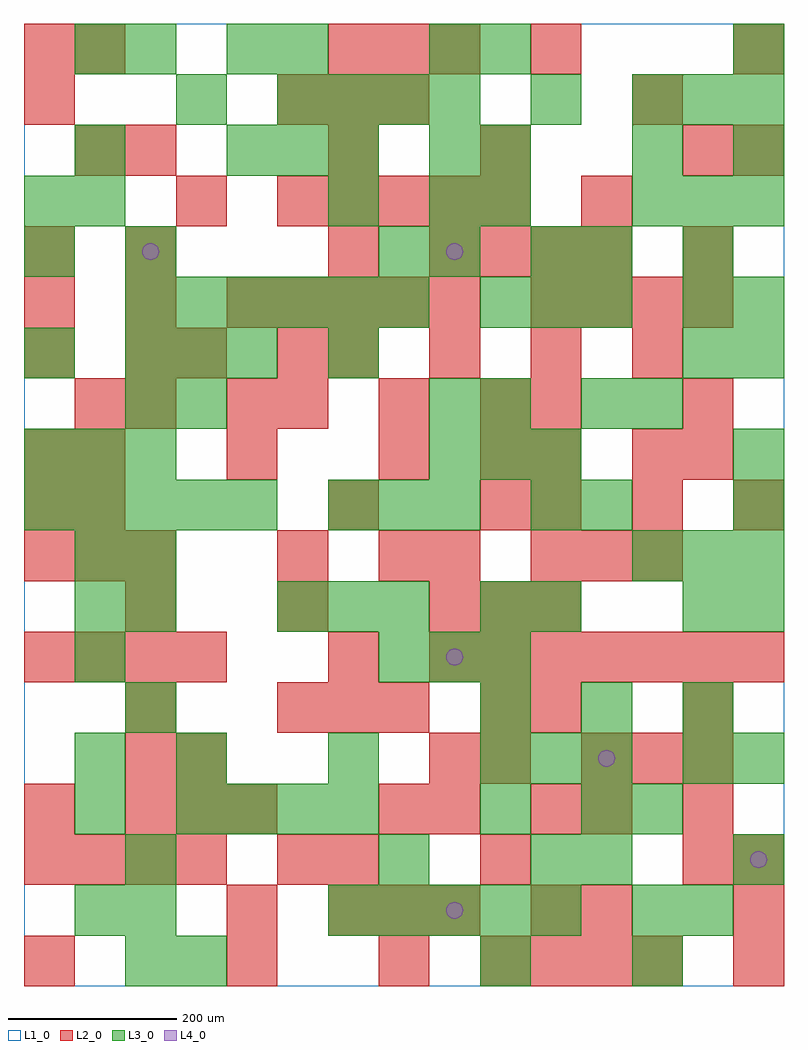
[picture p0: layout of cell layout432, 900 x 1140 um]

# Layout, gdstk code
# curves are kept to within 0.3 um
import gdstk
lib = gdstk.Library(unit=1e-6, precision=1e-09)
def R(c, l, rs):  # rectangles x0, y0, x1, y1
    for r in rs: c.add(gdstk.rectangle(r[:2], r[2:], *l))
def A(c, l, x, y, w, h, nx, ny, dx, dy):  # array of equal rectangles
    R(c, l, [(x+i*dx, y+j*dy, x+i*dx+w, y+j*dy+h) for i in range(nx) for j in range(ny)])
def P(c, l, *ps):  # polygons
    for p in ps: c.add(gdstk.Polygon(p, *l))
L1_0 = (1, 0)
L2_0 = (2, 0)
L3_0 = (3, 0)
L4_0 = (4, 0)

layout432 = lib.new_cell('layout432')
R(layout432, L1_0, [(0,0,900,1140)])
A(layout432, L2_0, 540, 0, 60, 60, 4, 1, 60, 0)
A(layout432, L2_0, 840, 0, 60, 60, 1, 3, 0, 60)
A(layout432, L2_0, 360, 60, 60, 60, 3, 2, 60, 1020)
A(layout432, L2_0, 600, 60, 60, 60, 1, 4, 0, 120)
A(layout432, L2_0, 0, 120, 60, 60, 4, 2, 60, 240)
A(layout432, L2_0, 120, 180, 60, 60, 3, 1, 60, 0)
A(layout432, L2_0, 660, 240, 60, 60, 3, 1, 60, 0)
A(layout432, L2_0, 300, 300, 60, 60, 3, 2, 60, 720)
A(layout432, L2_0, 540, 300, 60, 60, 1, 3, 0, 120)
A(layout432, L2_0, 480, 360, 60, 60, 7, 1, 60, 0)
A(layout432, L2_0, 120, 420, 60, 60, 3, 1, 180, 0)
A(layout432, L2_0, 0, 480, 60, 60, 3, 1, 60, 0)
A(layout432, L2_0, 600, 480, 60, 60, 3, 1, 60, 0)
A(layout432, L2_0, 600, 540, 60, 60, 3, 1, 120, 0)
A(layout432, L2_0, 0, 600, 60, 60, 1, 3, 0, 120)
A(layout432, L2_0, 60, 600, 60, 60, 3, 1, 180, 0)
A(layout432, L2_0, 300, 660, 60, 60, 3, 1, 120, 0)
A(layout432, L2_0, 120, 720, 60, 60, 1, 3, 0, 120)
A(layout432, L2_0, 360, 720, 60, 60, 4, 1, 120, 0)
A(layout432, L2_0, 0, 780, 60, 60, 3, 1, 120, 0)
A(layout432, L2_0, 300, 780, 60, 60, 4, 1, 60, 0)
A(layout432, L2_0, 600, 780, 60, 60, 4, 1, 60, 0)
A(layout432, L2_0, 480, 840, 60, 60, 4, 1, 60, 0)
A(layout432, L2_0, 300, 900, 60, 60, 5, 1, 60, 0)
R(layout432, L2_0, [(0,0,60,60), (240,0,300,60), (420,0,480,60), (240,60,300,120), (660,60,720,120), (300,120,360,180), (360,120,420,180), (540,120,600,180), (780,120,840,180), (0,180,60,240), (420,180,480,240), (480,180,540,240), (660,180,720,240), (780,180,840,240), (120,240,180,300), (180,240,240,300), (480,240,540,300), (540,240,600,300), (120,300,180,360), (780,300,840,360), (360,360,420,420), (300,480,360,540), (420,480,480,540), (480,480,540,540), (0,540,60,600), (60,540,120,600), (360,540,420,600), (540,600,600,660), (600,600,660,660), (720,600,780,660), (780,600,840,660), (60,660,120,720), (120,660,180,720), (240,660,300,720), (600,660,660,720), (780,660,840,720), (180,720,240,780), (300,720,360,780), (360,840,420,900), (780,840,840,900), (180,900,240,960), (660,900,720,960), (60,960,120,1020), (360,960,420,1020), (540,960,600,1020), (780,960,840,1020), (840,960,900,1020), (0,1020,60,1080), (720,1020,780,1080), (0,1080,60,1140), (60,1080,120,1140), (600,1080,660,1140), (840,1080,900,1140)])
A(layout432, L3_0, 120, 0, 60, 60, 1, 3, 0, 60)
A(layout432, L3_0, 360, 60, 60, 60, 5, 1, 60, 0)
A(layout432, L3_0, 780, 60, 60, 60, 1, 3, 0, 180)
A(layout432, L3_0, 660, 120, 60, 60, 1, 3, 0, 60)
A(layout432, L3_0, 180, 180, 60, 60, 4, 1, 60, 0)
A(layout432, L3_0, 540, 180, 60, 60, 1, 4, 0, 240)
A(layout432, L3_0, 180, 240, 60, 60, 3, 1, 180, 0)
A(layout432, L3_0, 540, 300, 60, 60, 3, 1, 120, 0)
A(layout432, L3_0, 60, 360, 60, 60, 1, 3, 0, 60)
A(layout432, L3_0, 420, 360, 60, 60, 3, 1, 60, 0)
A(layout432, L3_0, 300, 420, 60, 60, 3, 1, 60, 0)
A(layout432, L3_0, 120, 480, 60, 60, 1, 3, 0, 180)
A(layout432, L3_0, 720, 480, 60, 60, 3, 2, 60, 420)
A(layout432, L3_0, 0, 540, 60, 60, 5, 1, 60, 0)
A(layout432, L3_0, 360, 540, 60, 60, 3, 1, 60, 0)
A(layout432, L3_0, 0, 600, 60, 60, 3, 1, 60, 0)
A(layout432, L3_0, 480, 600, 60, 60, 3, 1, 60, 0)
A(layout432, L3_0, 120, 720, 60, 60, 3, 1, 60, 0)
A(layout432, L3_0, 780, 720, 60, 60, 1, 3, 0, 60)
A(layout432, L3_0, 120, 780, 60, 60, 6, 1, 60, 0)
A(layout432, L3_0, 540, 780, 60, 60, 3, 1, 60, 0)
A(layout432, L3_0, 480, 840, 60, 60, 1, 3, 0, 60)
A(layout432, L3_0, 240, 960, 60, 60, 3, 1, 60, 0)
A(layout432, L3_0, 300, 1020, 60, 60, 4, 1, 60, 0)
A(layout432, L3_0, 720, 1020, 60, 60, 3, 1, 60, 0)
R(layout432, L3_0, [(180,0,240,60), (540,0,600,60), (720,0,780,60), (60,60,120,120), (720,60,780,120), (420,120,480,180), (600,120,660,180), (840,120,900,180), (60,180,120,240), (720,180,780,240), (60,240,120,300), (600,240,660,300), (840,240,900,300), (120,300,180,360), (120,420,180,480), (600,420,660,480), (840,420,900,480), (600,540,660,600), (660,540,720,600), (840,540,900,600), (840,600,900,660), (180,660,240,720), (480,660,540,720), (660,660,720,720), (720,660,780,720), (0,720,60,780), (360,720,420,780), (840,720,900,780), (840,780,900,840), (0,840,60,900), (420,840,480,900), (600,840,660,900), (660,840,720,900), (0,900,60,960), (60,900,120,960), (360,900,420,960), (60,960,120,1020), (540,960,600,1020), (720,960,780,1020), (840,960,900,1020), (180,1020,240,1080), (600,1020,660,1080), (60,1080,120,1140), (120,1080,180,1140), (240,1080,300,1140), (300,1080,360,1140), (480,1080,540,1140), (540,1080,600,1140), (840,1080,900,1140)])
P(layout432, L4_0, [(160,870),(159.239,873.827),(157.071,877.071),(153.827,879.239),(150,880),(146.173,879.239),(142.929,877.071),(140.761,873.827),(140,870),(140.761,866.173),(142.929,862.929),(146.173,860.761),(150,860),(153.827,860.761),(157.071,862.929),(159.239,866.173)],
  [(520,90),(519.239,93.827),(517.071,97.071),(513.827,99.239),(510,100),(506.173,99.239),(502.929,97.071),(500.761,93.827),(500,90),(500.761,86.173),(502.929,82.929),(506.173,80.761),(510,80),(513.827,80.761),(517.071,82.929),(519.239,86.173)],
  [(520,390),(519.239,393.827),(517.071,397.071),(513.827,399.239),(510,400),(506.173,399.239),(502.929,397.071),(500.761,393.827),(500,390),(500.761,386.173),(502.929,382.929),(506.173,380.761),(510,380),(513.827,380.761),(517.071,382.929),(519.239,386.173)],
  [(520,870),(519.239,873.827),(517.071,877.071),(513.827,879.239),(510,880),(506.173,879.239),(502.929,877.071),(500.761,873.827),(500,870),(500.761,866.173),(502.929,862.929),(506.173,860.761),(510,860),(513.827,860.761),(517.071,862.929),(519.239,866.173)],
  [(700,270),(699.239,273.827),(697.071,277.071),(693.827,279.239),(690,280),(686.173,279.239),(682.929,277.071),(680.761,273.827),(680,270),(680.761,266.173),(682.929,262.929),(686.173,260.761),(690,260),(693.827,260.761),(697.071,262.929),(699.239,266.173)],
  [(880,150),(879.239,153.827),(877.071,157.071),(873.827,159.239),(870,160),(866.173,159.239),(862.929,157.071),(860.761,153.827),(860,150),(860.761,146.173),(862.929,142.929),(866.173,140.761),(870,140),(873.827,140.761),(877.071,142.929),(879.239,146.173)])

lib.write_gds('layout432.gds')
